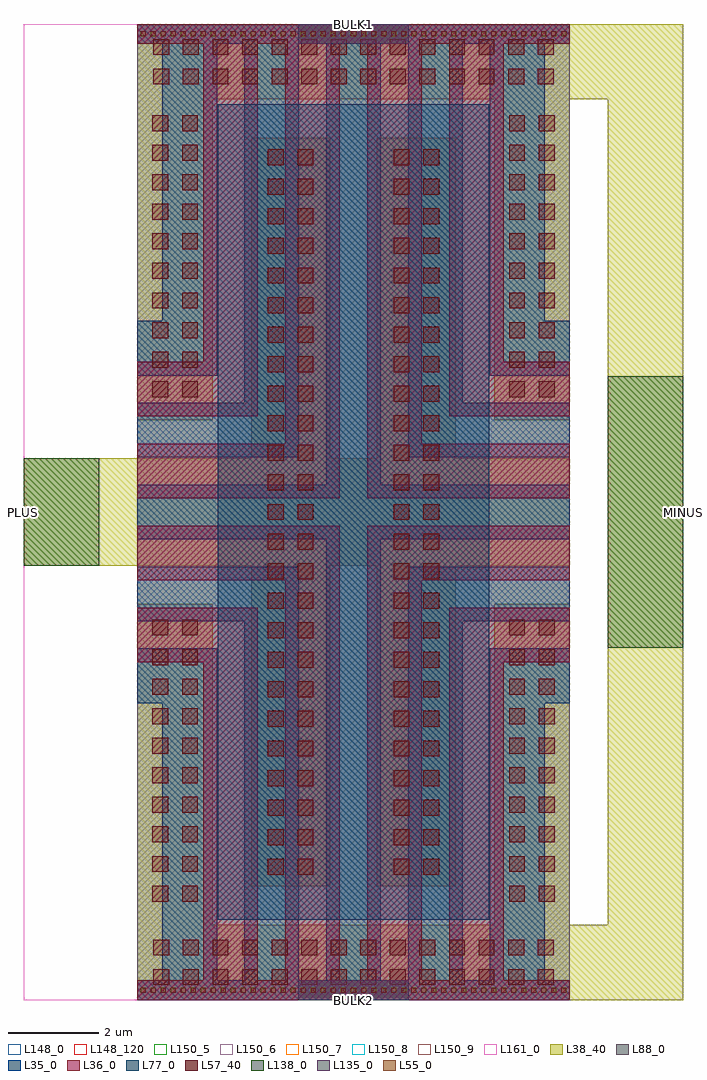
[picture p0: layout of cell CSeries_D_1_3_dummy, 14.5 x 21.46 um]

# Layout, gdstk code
import gdstk
lib = gdstk.Library(unit=1e-6, precision=1e-09)
def R(c, l, rs):  # rectangles x0, y0, x1, y1
    for r in rs: c.add(gdstk.rectangle(r[:2], r[2:], *l))
def A(c, l, x, y, w, h, nx, ny, dx, dy):  # array of equal rectangles
    R(c, l, [(x+i*dx, y+j*dy, x+i*dx+w, y+j*dy+h) for i in range(nx) for j in range(ny)])
def P(c, l, *ps):  # polygons
    for p in ps: c.add(gdstk.Polygon(p, *l))
L35_0 = (35, 0)
L36_0 = (36, 0)
L38_40 = (38, 40)
L55_0 = (55, 0)
L57_40 = (57, 40)
L77_0 = (77, 0)
L88_0 = (88, 0)
L135_0 = (135, 0)
L138_0 = (138, 0)
L148_0 = (148, 0)
L148_120 = (148, 120)
L150_5 = (150, 5)
L150_6 = (150, 6)
L150_7 = (150, 7)
L150_8 = (150, 8)
L150_9 = (150, 9)
L161_0 = (161, 0)

cseries_d_1_3_dummy = lib.new_cell('CSeries_D_1_3_dummy')
R(cseries_d_1_3_dummy, L35_0, [(-1.76,-1.76,7.74,-1.33), (-1.21,-1.76,-0.01,5.37), (0.59,-1.76,1.79,7.17), (2.39,-1.76,3.59,19.7), (4.19,-1.76,5.39,7.17), (5.99,-1.76,7.19,5.37), (-1.76,4.77,-0.01,5.97), (5.99,4.77,7.74,5.97), (-1.76,6.57,1.79,7.77), (4.19,6.57,7.74,7.77), (-1.76,8.37,7.74,9.57), (-1.76,10.17,1.79,11.37), (4.19,10.17,7.74,11.37), (0.59,10.77,1.79,19.7), (4.19,10.77,5.39,19.7), (-1.76,11.97,-0.01,13.17), (5.99,11.97,7.74,13.17), (-1.21,12.57,-0.01,19.7), (5.99,12.57,7.19,19.7), (-1.76,19.27,7.74,19.7)])
R(cseries_d_1_3_dummy, L36_0, [(-1.76,-1.76,7.74,-1.33), (-0.31,-1.76,0.89,6.27), (1.49,-1.76,2.69,8.07), (3.29,-1.76,4.49,8.07), (5.09,-1.76,6.29,6.27), (-1.76,5.67,0.89,6.87), (5.09,5.67,7.74,6.87), (-1.76,7.47,2.69,8.67), (3.29,7.47,7.74,8.67), (-1.76,9.27,2.69,10.47), (3.29,9.27,7.74,10.47), (1.49,9.87,2.69,19.7), (3.29,9.87,4.49,19.7), (-1.76,11.07,0.89,12.27), (5.09,11.07,7.74,12.27), (-0.31,11.67,0.89,19.7), (5.09,11.67,6.29,19.7), (-1.76,19.27,7.74,19.7)])
R(cseries_d_1_3_dummy, L38_40, [(7.74,-1.76,10.24,-0.1), (8.58,-1.76,10.24,19.7), (0.74,0.74,2.48,7.79), (3.5,0.74,5.24,7.79), (-4.26,7.79,7.74,10.15), (0.74,10.15,2.48,17.2), (0.74,10.15,2.48,17.2), (3.5,10.15,5.24,17.2), (3.5,10.15,5.24,17.2), (7.74,18.04,10.24,19.7)])
P(cseries_d_1_3_dummy, L38_40, [(-0.1,18.04),(6.08,18.04),(6.08,10.99),(7.74,10.99),(7.74,19.7),(-1.76,19.7),(-1.76,10.99),(-0.1,10.99)],
  [(-1.76,6.95),(-1.76,-1.76),(7.74,-1.76),(7.74,6.95),(6.08,6.95),(6.08,-0.1),(-0.1,-0.1),(-0.1,6.95)])
A(cseries_d_1_3_dummy, L55_0, -1.685, -1.6, 0.11, 0.11, 43, 2, 0.22, 21.03)
A(cseries_d_1_3_dummy, L57_40, -1.41, -1.43, 0.35, 0.35, 14, 2, 0.65, 0.65)
A(cseries_d_1_3_dummy, L57_40, -1.43, 0.405, 0.35, 0.35, 1, 10, 0, 0.65)
A(cseries_d_1_3_dummy, L57_40, -0.78, 0.405, 0.35, 0.35, 1, 10, 0, 0.65)
A(cseries_d_1_3_dummy, L57_40, 6.41, 0.405, 0.35, 0.35, 1, 10, 0, 0.65)
A(cseries_d_1_3_dummy, L57_40, 7.06, 0.405, 0.35, 0.35, 1, 10, 0, 0.65)
A(cseries_d_1_3_dummy, L57_40, 1.11, 0.995, 0.35, 0.35, 1, 25, 0, 0.65)
A(cseries_d_1_3_dummy, L57_40, 1.76, 0.995, 0.35, 0.35, 1, 25, 0, 0.65)
A(cseries_d_1_3_dummy, L57_40, 3.87, 0.995, 0.35, 0.35, 1, 25, 0, 0.65)
A(cseries_d_1_3_dummy, L57_40, 4.52, 0.995, 0.35, 0.35, 1, 25, 0, 0.65)
A(cseries_d_1_3_dummy, L57_40, -1.43, 11.495, 0.35, 0.35, 1, 10, 0, 0.65)
A(cseries_d_1_3_dummy, L57_40, -0.78, 11.495, 0.35, 0.35, 1, 10, 0, 0.65)
A(cseries_d_1_3_dummy, L57_40, 6.41, 11.495, 0.35, 0.35, 1, 10, 0, 0.65)
A(cseries_d_1_3_dummy, L57_40, 7.06, 11.495, 0.35, 0.35, 1, 10, 0, 0.65)
A(cseries_d_1_3_dummy, L57_40, -1.41, 18.37, 0.35, 0.35, 14, 2, 0.65, 0.65)
R(cseries_d_1_3_dummy, L77_0, [(0,0,5.98,17.94)])
R(cseries_d_1_3_dummy, L88_0, [(-1.76,-1.76,7.74,19.7)])
R(cseries_d_1_3_dummy, L135_0, [(1.778,-1.76,4.202,-1.33), (1.778,19.27,4.202,19.7)])
R(cseries_d_1_3_dummy, L138_0, [(8.58,5.98,10.24,11.96), (-4.26,7.79,-2.6,10.15)])
R(cseries_d_1_3_dummy, L148_0, [(-4.26,-1.76,10.24,19.7)])
R(cseries_d_1_3_dummy, L148_120, [(-4.26,-1.76,10.24,19.7)])
R(cseries_d_1_3_dummy, L150_5, [(-4.26,-1.76,10.24,19.7)])
R(cseries_d_1_3_dummy, L150_6, [(-4.26,-1.76,10.24,19.7)])
R(cseries_d_1_3_dummy, L150_7, [(-4.26,-1.76,10.24,19.7)])
R(cseries_d_1_3_dummy, L150_8, [(-4.26,-1.76,10.24,19.7)])
R(cseries_d_1_3_dummy, L150_9, [(-4.26,-1.76,10.24,19.7)])
R(cseries_d_1_3_dummy, L161_0, [(-4.26,-1.76,10.24,19.7)])
cseries_d_1_3_dummy.add(gdstk.Label('BULK1', (2.99,19.7), layer=135, texttype=0))
cseries_d_1_3_dummy.add(gdstk.Label('BULK2', (2.99,-1.76), layer=135, texttype=0))
cseries_d_1_3_dummy.add(gdstk.Label('PLUS', (-4.26,8.97), layer=138, texttype=0))
cseries_d_1_3_dummy.add(gdstk.Label('MINUS', (10.24,8.97), layer=138, texttype=0))

lib.write_gds('CSeries_D_1_3_dummy.gds')
